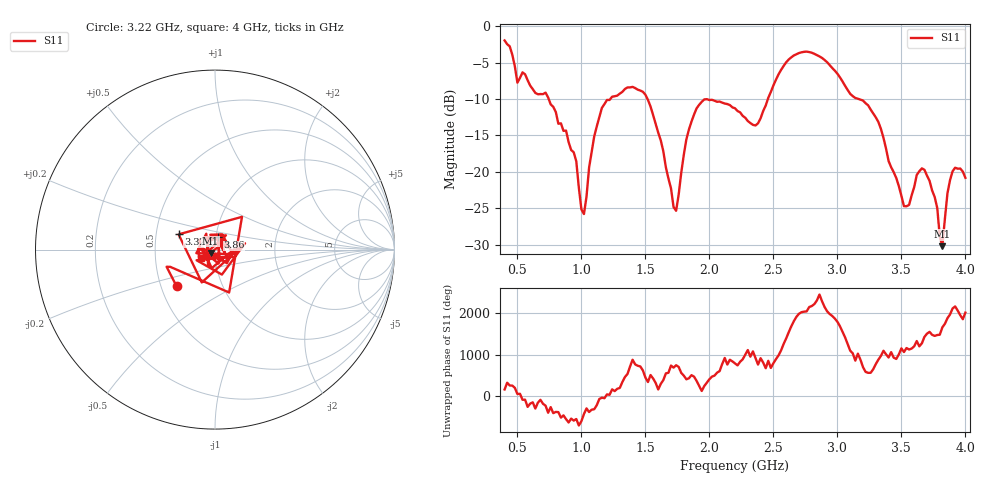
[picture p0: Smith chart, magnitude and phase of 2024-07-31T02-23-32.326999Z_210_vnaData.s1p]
!Created with skrf (http://scikit-rf.org).
# Hz S RI R 50.0
!freq ReS11 ImS11
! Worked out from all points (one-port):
!   181 points, 400 MHz to 4 GHz, reference 50 ohm
!   lowest |S11| = -30.2 dB at 3.82 GHz (marker M1), VSWR 1.06, Z = 47.5 - j1.72 ohm
!   |S11| at or under -10 dB: 744.4 MHz to 1.226 GHz (481.7 MHz wide, 48.9 % of centre); 1.516 GHz to 2.457 GHz (940.7 MHz wide, 47.4 % of centre); 3.166 GHz to end of sweep
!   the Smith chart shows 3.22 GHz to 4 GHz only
!   S11 on the Smith chart (normalised r, x): 3.22 GHz: 0.60, -0.27; 3.32 GHz: 0.65, +0.12; 3.86 GHz: 1.02, +0.14; 4 GHz: 0.85, -0.08
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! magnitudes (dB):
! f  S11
! 400 MHz  -2.0
! 500 MHz  -7.8
! 720 MHz  -9.1
! 860 MHz  -14.4
! 960 MHz  -18.6
! 1.02 GHz  -25.8
! 1.1 GHz  -15.2
! 1.16 GHz  -11.2
! 1.3 GHz  -9.3
! 1.5 GHz  -9.4
! 1.72 GHz  -24.8
! 1.76 GHz  -23.1
! 1.82 GHz  -15.5
! 1.9 GHz  -11.3
! 2.2 GHz  -11.3
! 2.38 GHz  -13.3
! 2.66 GHz  -4.0
! 2.88 GHz  -4.4
! 3.1 GHz  -9.3
! 3.22 GHz  -10.6
! 3.32 GHz  -13.2
! 3.56 GHz  -24.5
! 3.68 GHz  -19.7
! 3.76 GHz  -23.4
! 3.82 GHz  -30.2
! 3.86 GHz  -22.9
! 3.92 GHz  -19.4
! 4 GHz  -20.8
